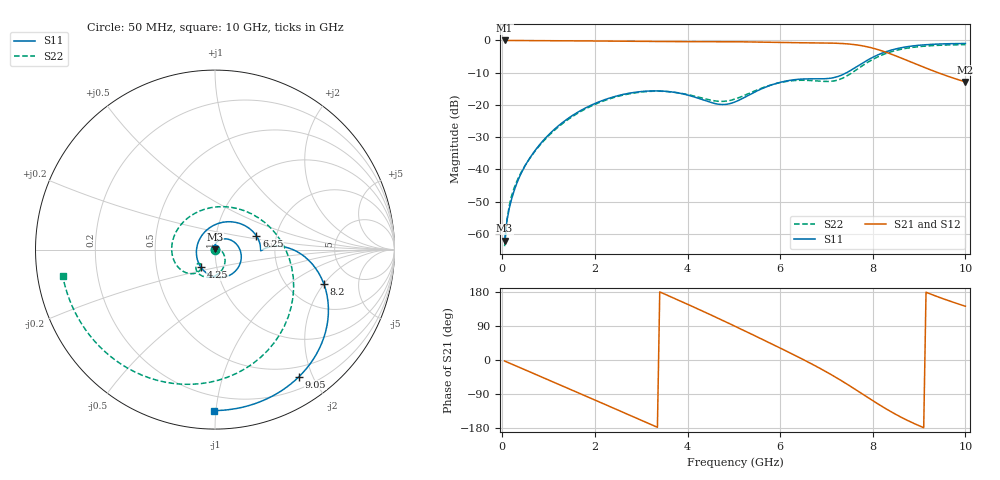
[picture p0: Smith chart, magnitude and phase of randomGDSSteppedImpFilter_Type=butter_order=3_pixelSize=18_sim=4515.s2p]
! freq	dB(S11)	phase(S11)	dB(S12)	phase(S12)
!  dB(S21)	phase(S21)	dB(S22)	phase(S22)
!S-par simulation data
#  GHz  S  DB  R 50
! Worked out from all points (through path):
!   200 points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, 50 MHz to 10 GHz, reference 50 ohm
!   highest |S21| = 0.00 dB at 50 MHz (marker M1); lowest = -12.8 dB at 10 GHz (marker M2)
!   group delay of S21, straight-line fit = 165 ps
!   lowest |S11| = -62.1 dB at 50 MHz (marker M3), VSWR 1.00, Z = 50 + j0.0783 ohm
!   |S11| at or under -10 dB: start of sweep to 7.434 GHz
!   |S22| runs from -63.8 to -1.3 dB; largest |S21 - S12| = 0
!   S11 on the Smith chart (normalised r, x): 50 MHz: 1.00, +0.00; 4.25 GHz: 0.84, -0.17; 6.25 GHz: 1.58, +0.25; 8.2 GHz: 3.12, -1.99; 9.05 GHz: 0.36, -1.81; 10 GHz: 0.11, -0.99
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0.05  -62.08 84.1  -0.00 -2.7  -0.00 -2.7  -63.79 54.5
0.1  -55.93 87.9  -0.01 -5.3  -0.01 -5.3  -55.76 54.1
0.2  -49.24 90.7  -0.01 -10.6  -0.01 -10.6  -48.22 52.2
0.45  -39.98 95.3  -0.03 -23.8  -0.03 -23.8  -39.80 33.5
1.15  -27.23 75.6  -0.08 -60.7  -0.08 -60.7  -27.55 -16.3
1.75  -21.28 43.7  -0.14 -92.4  -0.14 -92.4  -21.58 -47.8
2.65  -16.61 -10.2  -0.26 -140.2  -0.26 -140.2  -16.81 -89.0
3.4  -15.66 -58.9  -0.34 179.7  -0.34 179.7  -15.74 -119.3
4.25  -18.01 -128.6  -0.36 133.2  -0.36 133.2  -17.63 -140.5
5.05  -18.92 120.9  -0.40 87.6  -0.40 87.6  -18.05 -127.1
5.6  -15.00 60.7  -0.52 55.3  -0.52 55.3  -14.79 -132.5
6.25  -12.28 18.1  -0.68 16.5  -0.68 16.5  -12.51 -165.8
6.7  -11.90 1.4  -0.75 -11.6  -0.75 -11.6  -12.46 155.7
7.1  -11.68 -0.8  -0.82 -38.5  -0.82 -38.5  -12.67 103.2
7.55  -9.05 3.1  -1.20 -71.9  -1.20 -71.9  -10.03 28.8
7.9  -5.99 -4.6  -2.03 -99.5  -2.03 -99.5  -6.70 -19.5
8.2  -3.94 -17.4  -3.24 -122.6  -3.24 -122.6  -4.51 -52.7
8.35  -3.19 -24.6  -3.99 -133.4  -3.99 -133.4  -3.71 -67.1
8.7  -2.03 -41.3  -5.95 -156.4  -5.95 -156.4  -2.49 -96.1
9.05  -1.42 -56.5  -8.00 -176.1  -8.00 -176.1  -1.84 -120.0
9.5  -1.07 -73.7  -10.48 162.5  -10.48 162.5  -1.45 -145.6
10  -0.94 -90.2  -12.84 141.8  -12.84 141.8  -1.30 -170.0
